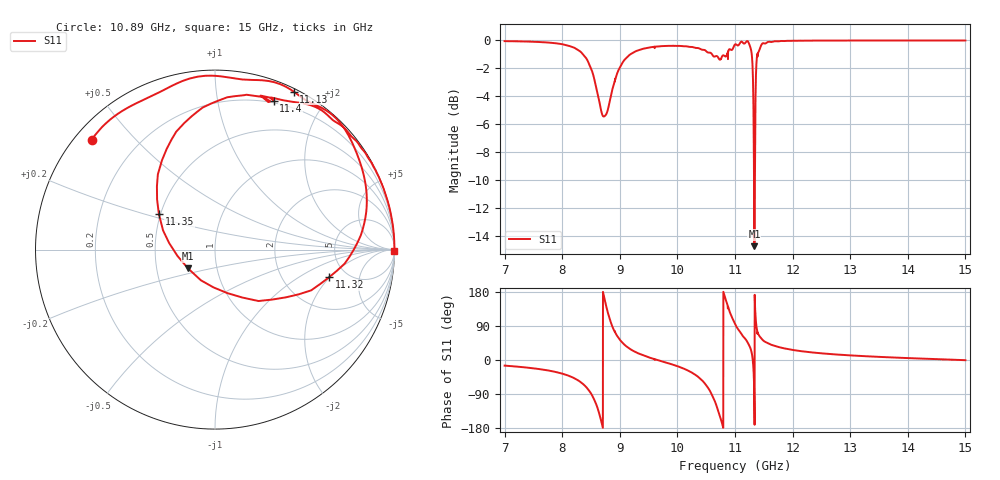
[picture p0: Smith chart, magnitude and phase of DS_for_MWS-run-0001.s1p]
! TOUCHSTONE file generated by CST DESIGN STUDIO
! Date and time: Mon Feb 10 16:46:49 2025
! Project name: C:\Work\MatlabApps\UnitCellType2OptimizationMatlab\CST\unitcell.cst
! Tree item: Tasks\Sweep1\SPara1\S-Parameters
! Header version: 2024
! Port assignment regex: !\s*Touchstone port\s*([0-9]+)\s*=\s*(CST MWS port|CST DES external port|CST DES block port)\s*(.+)\s* \(\"(.*)\"\)(\s*mode\s*([0-9]+))?.*
! Touchstone port assignment:
! Touchstone port 1 = CST DES external port 1 ("")
# GHz S MA R 50
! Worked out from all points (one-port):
!   4001 points, 7 GHz to 15 GHz, reference 50 ohm
!   lowest |S11| = -14.7 dB at 11.34 GHz (marker M1), VSWR 1.45, Z = 36.1 - j7.72 ohm
!   |S11| at or under -10 dB: 11.32971 GHz to 11.34429 GHz (14.58 MHz wide, 0.129 % of centre)
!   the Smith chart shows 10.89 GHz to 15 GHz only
!   S11 on the Smith chart (normalised r, x): 10.89 GHz: 0.05, +0.38; 11.13 GHz: 0.03, +1.62; 11.32 GHz: 3.64, -1.97; 11.35 GHz: 0.49, +0.22; 11.4 GHz: 0.18, +1.45; 15 GHz: open
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7  0.9942 -14.8
8  0.9696 -36.0
8.284  0.9217 -54.5
8.484  0.8083 -84.6
8.588  0.6821 -116.0
8.69  0.5467 -168.9
8.838  0.6251 102.2
9  0.7995 53.4
9.338  0.9242 16.4
10  0.9558 -16.3
10.38  0.9361 -47.1
10.616  0.8824 -97.3
10.692  0.8775 -126.9
10.774  0.8758 -166.4
10.886  0.9173 138.2
11  0.9683 95.7
11.134  0.9832 63.5
11.272  0.937 29.4
11.316  0.6533 -13.7
11.338  0.1836 -145.8
11.346  0.3694 147.8
11.37  0.8143 91.5
11.398  0.8908 68.5
11.556  0.9835 45.4
12  0.9977 26.6
13  0.9994 12.2
14  0.9999 5.1
15  0.9996 -0.5
